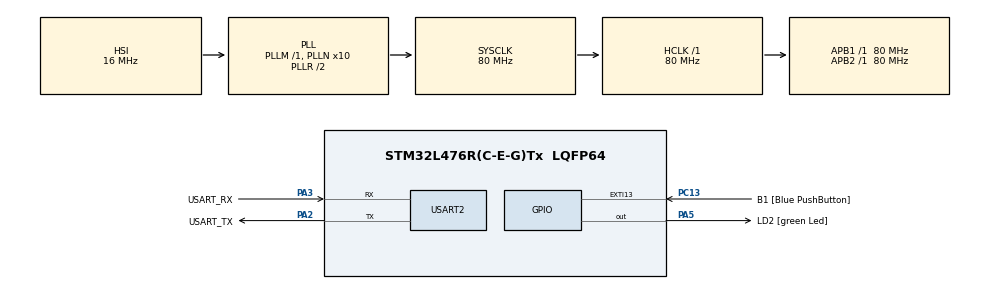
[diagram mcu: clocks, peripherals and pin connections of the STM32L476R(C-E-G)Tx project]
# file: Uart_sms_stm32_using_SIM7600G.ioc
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Mcu.Family=STM32L4
Mcu.Name=STM32L476R(C-E-G)Tx
Mcu.Package=LQFP64
NVIC.EXTI15_10_IRQn=true\:0\:0\:false\:false\:true\:true\:true\:true
NVIC.PriorityGroup=NVIC_PRIORITYGROUP_4
NVIC.USART2_IRQn=true\:0\:0\:false\:false\:true\:true\:true\:true
PA13\ (JTMS-SWDIO).GPIO_Label=TMS
PA13\ (JTMS-SWDIO).Mode=Serial_Wire
PA13\ (JTMS-SWDIO).Signal=SYS_JTMS-SWDIO
PA14\ (JTCK-SWCLK).GPIO_Label=TCK
PA14\ (JTCK-SWCLK).Mode=Serial_Wire
PA14\ (JTCK-SWCLK).Signal=SYS_JTCK-SWCLK
PA2.GPIO_Label=USART_TX
PA2.GPIO_Mode=GPIO_MODE_AF_PP
PA2.GPIO_PuPd=GPIO_NOPULL
PA2.GPIO_Speed=GPIO_SPEED_FREQ_VERY_HIGH
PA2.Mode=Asynchronous
PA2.Signal=USART2_TX
PA3.GPIO_Label=USART_RX
PA3.GPIO_Mode=GPIO_MODE_AF_PP
PA3.GPIO_PuPd=GPIO_NOPULL
PA3.GPIO_Speed=GPIO_SPEED_FREQ_VERY_HIGH
PA3.Mode=Asynchronous
PA3.Signal=USART2_RX
PA5.GPIO_Label=LD2 [green Led]
PA5.GPIO_ModeDefaultOutputPP=GPIO_MODE_OUTPUT_PP
PA5.GPIO_PuPd=GPIO_NOPULL
PA5.GPIO_Speed=GPIO_SPEED_FREQ_LOW
PA5.Signal=GPIO_Output
PB3\ (JTDO-TRACESWO).GPIO_Label=SWO
PB3\ (JTDO-TRACESWO).Signal=SYS_JTDO-SWO
PC13.GPIO_Label=B1 [Blue PushButton]
PC13.GPIO_ModeDefaultEXTI=GPIO_MODE_IT_FALLING
PC13.GPIO_PuPd=GPIO_NOPULL
PC13.Signal=GPXTI13
PC14-OSC32_IN\ (PC14).Mode=LSE-External-Oscillator
PC14-OSC32_IN\ (PC14).Signal=RCC_OSC32_IN
PC15-OSC32_OUT\ (PC15).Mode=LSE-External-Oscillator
PC15-OSC32_OUT\ (PC15).Signal=RCC_OSC32_OUT
PH0-OSC_IN\ (PH0).Signal=RCC_OSC_IN
PH1-OSC_OUT\ (PH1).Signal=RCC_OSC_OUT
ProjectManager.HeapSize=0x200
ProjectManager.StackSize=0x400
ProjectManager.TargetToolchain=STM32CubeIDE
RCC.ADCFreq_Value=64000000
RCC.AHBFreq_Value=80000000
RCC.APB1Freq_Value=80000000
RCC.APB1TimFreq_Value=80000000
RCC.APB2Freq_Value=80000000
RCC.APB2TimFreq_Value=80000000
RCC.CortexFreq_Value=80000000
RCC.HCLKFreq_Value=80000000
RCC.HSE_VALUE=8000000
RCC.HSI_VALUE=16000000
RCC.MSI_VALUE=4000000
RCC.PLLN=10
RCC.PLLSourceVirtual=RCC_PLLSOURCE_HSI
RCC.PREFETCH_ENABLE=1
RCC.SYSCLKFreq_VALUE=80000000
RCC.SYSCLKSource=RCC_SYSCLKSOURCE_PLLCLK
RCC.USBFreq_Value=64000000
RCC.VCOOutputFreq_Value=160000000
USART2.VirtualMode-Asynchronous=VM_ASYNC
board=NUCLEO-L476RG

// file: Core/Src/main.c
/* USER CODE BEGIN Header */
/**
  ******************************************************************************
  * @file           : main.c
  * @brief          : Main program body
  ******************************************************************************
  * @attention
  *
  * Copyright (c) 2023 STMicroelectronics.
  * All rights reserved.
  *
  * This software is licensed under terms that can be found in the LICENSE file
  * in the root directory of this software component.
  * If no LICENSE file comes with this software, it is provided AS-IS.
  *
  ******************************************************************************
  */
/* USER CODE END Header *
#include "main.h"

/* USER CODE BEGIN Includes */
//##############################################################################################################
//?SIM7600 comes in different version. The one I am using is SIM7600G (Global) that can work with many bands.
//!I checked here in Australia with two different providers (Telstra and Vodafone).
//!Both sim cards worked fine.
//!The pin outs are quite simple. Connect four pins VCC,GND,UART(RX) and UART(TX), it will just work.
//!This module includes proper power regulator, so we can connect 5V to the V pin.
//*Also the TX/RX serial communication already includes necessary 3.3V level shifter.
//?*So we can connect to 3.3V ESP or STM microcontroller directly.
//TODO adding better comments color
//##############################################################################################################
#include <stdio.h>
#include <string.h>
#include <stdlib.h>
 /* USER CODE END Includes */

UART_HandleTypeDef huart2;

void SystemClock_Config(void);
static void MX_GPIO_Init(void);
static void MX_USART2_UART_Init(void);

int main(void)
{

  /* MCU Configuration--------------------------------------------------------*/

  /* Reset of all peripherals, Initializes the Flash interface and the Systick. */
  HAL_Init();

  /* Configure the system clock */
  SystemClock_Config();

  /* Initialize all configured peripherals */
  MX_GPIO_Init();
  MX_USART2_UART_Init();
  /* USER CODE BEGIN 2 */
    char mobileNumber[] = "+972543206793";  // Enter the Mobile Number you want to send to
    char ATcommand[80];
    uint8_t buffer[30] = {0};
    uint8_t ATisOK = 0;

    while(!ATisOK){
      		sprintf(ATcommand,"AT\r\n");//power-on AT is OK
      		HAL_UART_Transmit(&huart2,(uint8_t *)ATcommand,strlen(ATcommand),1000);
      		HAL_UART_Receive (&huart2, buffer, 30, 100);
      		HAL_Delay(1000);
      		if(strstr((char *)buffer,"OK")){
      			ATisOK = 1;//start listening
      		}
      		HAL_Delay(1000);
      		memset(buffer,0,sizeof(buffer)); // Initialize the buffer
      }
      sprintf(ATcommand,"AT+CMGF=1\r\n");// AT+CMGF=1: Set the SMS mode to TEXT;

      HAL_UART_Transmit(&huart2,(uint8_t *)ATcommand,strlen(ATcommand),1000);
      HAL_UART_Receive (&huart2, buffer, 30, 100);
      HAL_Delay(1000);

      memset(buffer,0,sizeof(buffer)); // Initialize the buffer
      sprintf(ATcommand,"AT+CMGS=\"%s\"\r\n",mobileNumber);// set the recipient's mobile phone number, and then return: ">"
      HAL_UART_Transmit(&huart2,(uint8_t *)ATcommand,strlen(ATcommand),1000);
      HAL_Delay(100);

      sprintf(ATcommand,"Hello from STM32%c",0x1a);
      HAL_UART_Transmit(&huart2,(uint8_t *)ATcommand,strlen(ATcommand),1000);
      HAL_UART_Receive (&huart2, buffer, 30, 100);
      memset(buffer,0,sizeof(buffer));
      HAL_Delay(4000);
  /* USER CODE END 2 */
  //TODO: ADD CONTROL SMS
  /* Infinite loop */
  while (1)
  {

  }
}

void SystemClock_Config(void)
{
  RCC_OscInitTypeDef RCC_OscInitStruct = {0};
  RCC_ClkInitTypeDef RCC_ClkInitStruct = {0};

  /** Configure the main internal regulator output voltage
  */
  if (HAL_PWREx_ControlVoltageScaling(PWR_REGULATOR_VOLTAGE_SCALE1) != HAL_OK)
  {
    Error_Handler();
  }

  /** Initializes the RCC Oscillators according to the specified parameters
  * in the RCC_OscInitTypeDef structure.
  */
  RCC_OscInitStruct.OscillatorType = RCC_OSCILLATORTYPE_HSI;
  RCC_OscInitStruct.HSIState = RCC_HSI_ON;
  RCC_OscInitStruct.HSICalibrationValue = RCC_HSICALIBRATION_DEFAULT;
  RCC_OscInitStruct.PLL.PLLState = RCC_PLL_ON;
  RCC_OscInitStruct.PLL.PLLSource = RCC_PLLSOURCE_HSI;
  RCC_OscInitStruct.PLL.PLLM = 1;
  RCC_OscInitStruct.PLL.PLLN = 10;
  RCC_OscInitStruct.PLL.PLLP = RCC_PLLP_DIV7;
  RCC_OscInitStruct.PLL.PLLQ = RCC_PLLQ_DIV2;
  RCC_OscInitStruct.PLL.PLLR = RCC_PLLR_DIV2;
  if (HAL_RCC_OscConfig(&RCC_OscInitStruct) != HAL_OK)
  {
    Error_Handler();
  }

  /** Initializes the CPU, AHB and APB buses clocks
  */
  RCC_ClkInitStruct.ClockType = RCC_CLOCKTYPE_HCLK|RCC_CLOCKTYPE_SYSCLK
                              |RCC_CLOCKTYPE_PCLK1|RCC_CLOCKTYPE_PCLK2;
  RCC_ClkInitStruct.SYSCLKSource = RCC_SYSCLKSOURCE_PLLCLK;
  RCC_ClkInitStruct.AHBCLKDivider = RCC_SYSCLK_DIV1;
  RCC_ClkInitStruct.APB1CLKDivider = RCC_HCLK_DIV1;
  RCC_ClkInitStruct.APB2CLKDivider = RCC_HCLK_DIV1;

  if (HAL_RCC_ClockConfig(&RCC_ClkInitStruct, FLASH_LATENCY_4) != HAL_OK)
  {
    Error_Handler();
  }
}

static void MX_USART2_UART_Init(void)
{

  huart2.Instance = USART2;
  huart2.Init.BaudRate = 115200;
  huart2.Init.WordLength = UART_WORDLENGTH_8B;
  huart2.Init.StopBits = UART_STOPBITS_1;
  huart2.Init.Parity = UART_PARITY_NONE;
  huart2.Init.Mode = UART_MODE_TX_RX;
  huart2.Init.HwFlowCtl = UART_HWCONTROL_NONE;
  huart2.Init.OverSampling = UART_OVERSAMPLING_16;
  huart2.Init.OneBitSampling = UART_ONE_BIT_SAMPLE_DISABLE;
  huart2.AdvancedInit.AdvFeatureInit = UART_ADVFEATURE_NO_INIT;
  if (HAL_UART_Init(&huart2) != HAL_OK)
  {
    Error_Handler();
  }

}

static void MX_GPIO_Init(void)
{
  GPIO_InitTypeDef GPIO_InitStruct = {0};

  /* GPIO Ports Clock Enable */
  __HAL_RCC_GPIOC_CLK_ENABLE();
  __HAL_RCC_GPIOH_CLK_ENABLE();
  __HAL_RCC_GPIOA_CLK_ENABLE();
  __HAL_RCC_GPIOB_CLK_ENABLE();

  /*Configure GPIO pin Output Level */
  HAL_GPIO_WritePin(LD2_GPIO_Port, LD2_Pin, GPIO_PIN_RESET);

  /*Configure GPIO pin : B1_Pin */
  GPIO_InitStruct.Pin = B1_Pin;
  GPIO_InitStruct.Mode = GPIO_MODE_IT_FALLING;
  GPIO_InitStruct.Pull = GPIO_NOPULL;
  HAL_GPIO_Init(B1_GPIO_Port, &GPIO_InitStruct);

  /*Configure GPIO pin : LD2_Pin */
  GPIO_InitStruct.Pin = LD2_Pin;
  GPIO_InitStruct.Mode = GPIO_MODE_OUTPUT_PP;
  GPIO_InitStruct.Pull = GPIO_NOPULL;
  GPIO_InitStruct.Speed = GPIO_SPEED_FREQ_LOW;
  HAL_GPIO_Init(LD2_GPIO_Port, &GPIO_InitStruct);

  /* EXTI interrupt init*/
  HAL_NVIC_SetPriority(EXTI15_10_IRQn, 0, 0);
  HAL_NVIC_EnableIRQ(EXTI15_10_IRQn);

}

void Error_Handler(void)
{
  __disable_irq();
  while (1)
  {
  }
}
